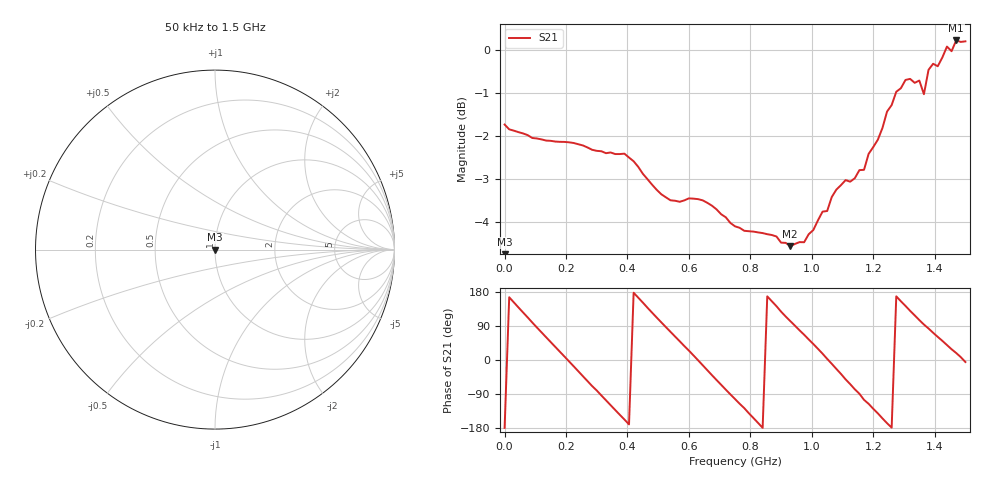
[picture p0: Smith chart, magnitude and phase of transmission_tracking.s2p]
! Created with skrf 1.8.0 (http://scikit-rf.org).
# Hz S RI R 50.0
!freq ReS11 ImS11 ReS21 ImS21 ReS12 ImS12 ReS22 ImS22
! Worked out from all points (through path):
!   101 points, 50 kHz to 1.5 GHz, reference 50 ohm
!   highest |S21| = 0.21 dB at 1.47 GHz (marker M1); lowest = -4.6 dB at 930 MHz (marker M2)
!   lowest |S11| = - dB at 50 kHz (marker M3), VSWR 1.00, Z = 50 + j0 ohm
!   |S11| at or under -10 dB: start of sweep to end of sweep
!   S12 and S22 are empty: the file has one direction only
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50000  0 0  -0.818 -0.0112  0 0  0 0
6.0048e7  0 0  -0.4644 0.65  0 0  0 0
1.050465e8  0 0  0.0565 0.7861  0 0  0 0
1.80044e8  0 0  0.7253 0.2901  0 0  0 0
2.550415e8  0 0  0.5675 -0.5256  0 0  0 0
3.30039e8  0 0  -0.2127 -0.7273  0 0  0 0
4.050365e8  0 0  -0.7373 -0.1317  0 0  0 0
5.10033e8  0 0  -0.1114 0.6697  0 0  0 0
6.30029e8  0 0  0.6699 -0.0105  0 0  0 0
6.90027e8  0 0  0.3935 -0.5197  0 0  0 0
7.50025e8  0 0  -0.14 -0.6071  0 0  0 0
8.40022e8  0 0  -0.6117 -0.0106  0 0  0 0
9.30019e8  0 0  -0.1296 0.5764  0 0  0 0
1.005016e9  0 0  0.4575 0.4138  0 0  0 0
1.080014e9  0 0  0.6302 -0.2745  0 0  0 0
1.155012e9  0 0  0.0127 -0.724  0 0  0 0
1.20001e9  0 0  -0.4814 -0.6012  0 0  0 0
1.260008e9  0 0  -0.8616 -0.0221  0 0  0 0
1.320006e9  0 0  -0.5919 0.7102  0 0  0 0
1.380004e9  0 0  0.1126 0.9404  0 0  0 0
1.470001e9  0 0  0.9717 0.325  0 0  0 0
1.5e9  0 0  1.018 -0.095  0 0  0 0
